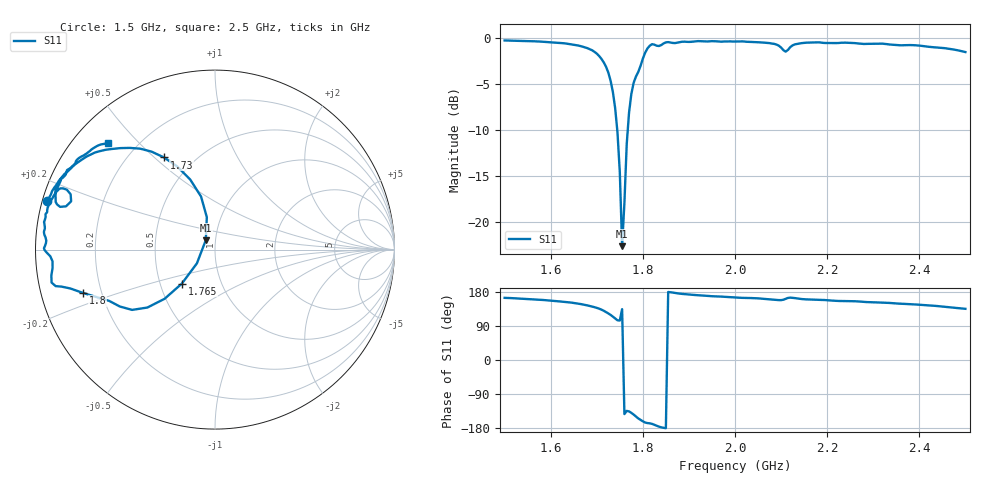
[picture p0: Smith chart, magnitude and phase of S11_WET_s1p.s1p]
!  04/02/2022  10:38:51
! Ref Plane: 0,000 mm
# MHZ S MA R  50
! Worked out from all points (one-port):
!   201 points, 1.5 GHz to 2.5 GHz, reference 50 ohm
!   lowest |S11| = -22.7 dB at 1.755 GHz (marker M1), VSWR 1.16, Z = 44.9 + j4.75 ohm
!   |S11| at or under -10 dB: 1.744 GHz to 1.767 GHz (22.84 MHz wide, 1.3 % of centre)
!   S11 on the Smith chart (normalised r, x): 1.5 GHz: 0.01, +0.14; 1.73 GHz: 0.34, +0.54; 1.765 GHz: 0.65, -0.26; 1.8 GHz: 0.13, -0.16; 2.5 GHz: 0.10, +0.41
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1500  0.973 164.0
1625  0.9407 153.9
1660  0.913 148.7
1690  0.8599 141.0
1710  0.773 133.0
1730  0.5871 119.0
1740  0.4141 109.5
1745  0.3056 104.7
1750  0.1863 104.2
1755  0.07346 134.2
1760  0.1265 -142.8
1765  0.2642 -134.3
1770  0.392 -135.7
1775  0.4961 -139.4
1780  0.5711 -144.0
1800  0.774 -161.8
1810  0.8801 -166.5
1820  0.9288 -168.6
1840  0.9184 -177.7
1875  0.947 175.8
2000  0.9596 165.1
2090  0.9242 158.3
2110  0.8454 161.4
2125  0.9149 164.1
2155  0.9464 160.0
2250  0.9431 155.5
2375  0.9181 147.5
2500  0.8411 135.1
